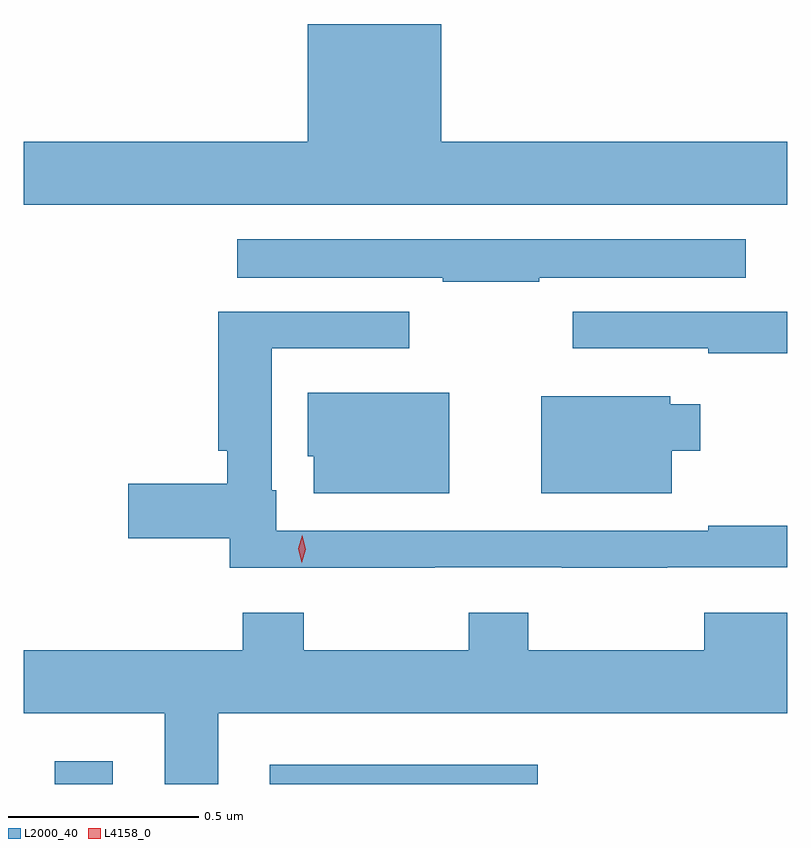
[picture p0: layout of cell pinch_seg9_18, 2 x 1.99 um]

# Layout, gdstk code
import gdstk
lib = gdstk.Library(unit=1e-6, precision=1e-09)
def R(c, l, rs):  # rectangles x0, y0, x1, y1
    for r in rs: c.add(gdstk.rectangle(r[:2], r[2:], *l))
def P(c, l, *ps):  # polygons
    for p in ps: c.add(gdstk.Polygon(p, *l))
L2000_40 = (2000, 40)
L4158_0 = (4158, 0)

pinch_seg9_18 = lib.new_cell('pinch_seg9_18')
R(pinch_seg9_18, L2000_40, [(1109.975,1206.89,1110.127,1206.949), (1110.539,1206.89,1111.24,1206.94)])
P(pinch_seg9_18, L2000_40, [(1111.894,1208.572),(1110.988,1208.572),(1110.988,1208.881),(1110.638,1208.881),(1110.638,1208.572),(1109.894,1208.572),(1109.894,1208.408),(1111.894,1208.408)],
  [(1111.244,1208.216),(1111.786,1208.216),(1111.786,1208.317),(1110.453,1208.317),(1110.453,1208.216),(1110.991,1208.216),(1110.991,1208.206),(1111.244,1208.206)],
  [(1110.971,1207.458),(1111.303,1207.458),(1111.303,1207.457),(1111.58,1207.457),(1111.58,1207.458),(1111.894,1207.458),(1111.894,1207.567),(1111.687,1207.567),(1111.687,1207.554),(1110.556,1207.554),(1110.556,1207.659),(1110.543,1207.659),(1110.543,1208.031),(1110.904,1208.031),(1110.904,1208.127),(1110.404,1208.127),(1110.404,1207.763),(1110.427,1207.763),(1110.427,1207.676),(1110.168,1207.676),(1110.168,1207.534),(1110.434,1207.534),(1110.434,1207.457),(1110.971,1207.457)],
  [(1111.894,1208.127),(1111.332,1208.127),(1111.332,1208.031),(1111.687,1208.031),(1111.687,1208.019),(1111.894,1208.019)],
  [(1111.009,1207.915),(1110.638,1207.915),(1110.638,1207.749),(1110.653,1207.749),(1110.653,1207.652),(1111.009,1207.652)],
  [(1111.591,1207.763),(1111.666,1207.763),(1111.666,1207.885),(1111.587,1207.885),(1111.587,1207.906),(1111.25,1207.906),(1111.25,1207.652),(1111.591,1207.652)],
  [(1110.403,1207.076),(1111.894,1207.076),(1111.894,1207.339),(1111.676,1207.339),(1111.676,1207.24),(1111.215,1207.24),(1111.215,1207.339),(1111.06,1207.339),(1111.06,1207.24),(1110.627,1207.24),(1110.627,1207.339),(1110.467,1207.339),(1110.467,1207.24),(1109.894,1207.24),(1109.894,1207.076),(1110.263,1207.076),(1110.263,1206.89),(1110.403,1206.89)])
P(pinch_seg9_18, L4158_0, [(1110.622,1207.47),(1110.622,1207.47),(1110.613,1207.506),(1110.624,1207.542),(1110.624,1207.542),(1110.624,1207.542),(1110.633,1207.505),(1110.622,1207.47)])

lib.write_gds('pinch_seg9_18.gds')
